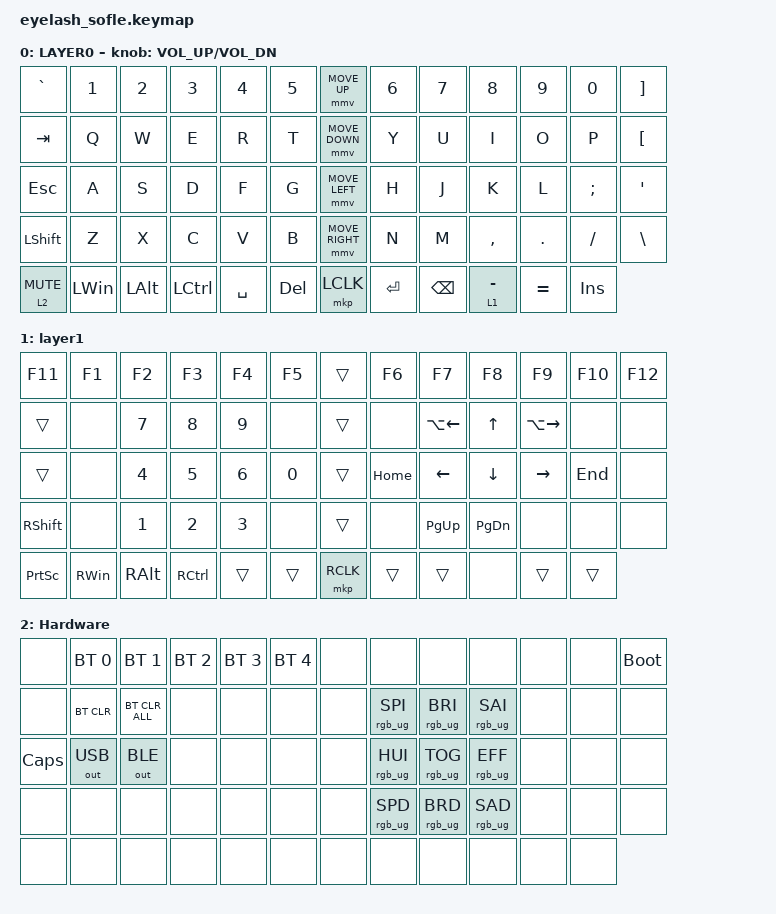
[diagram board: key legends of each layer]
#include <dt-bindings/zmk/mouse.h>
#include <input/processors.dtsi>
#include <behaviors.dtsi>
#include <dt-bindings/zmk/bt.h>
#include <dt-bindings/zmk/keys.h>
#include <dt-bindings/zmk/outputs.h>
#include <dt-bindings/zmk/pointing.h>
#include <dt-bindings/zmk/rgb.h>

/*

   &mmv_input_listener {
       input-processors = <&zip_xy_scaler 2 1>;
   };

   &msc_input_listener {
       input-processors = <&zip_xy_scaler 2 1>;
   };

 */

#define ZMK_MOUSE_DEFAULT_MOVE_VAL 1200  // 600
#define ZMK_MOUSE_DEFAULT_SCRL_VAL 20    // 10

/ {
    behaviors {
        mmv {
            acceleration-exponent = <1>;      // 1
            time-to-max-speed-ms = <900>;    // 40
            delay-ms = <0>;                   // 0
        };

        msc {
            acceleration-exponent = <1>;      // 0
            time-to-max-speed-ms = <400>;      // 500
            delay-ms = <0>;                   //   10
        };
    };

    scroll_encoder: scroll_encoder {
        compatible = "zmk,behavior-sensor-rotate";
        #sensor-binding-cells = <0>;
        bindings = <&msc SCRL_DOWN>, <&msc SCRL_UP>;

        tap-ms = <30>;
    };

    keymap {
        compatible = "zmk,keymap";

        Main {
            bindings = <
&kp GRAVE     &kp N1        &kp N2        &kp N3     &kp N4     &kp N5        &mmv MOVE_UP     &kp N6     &kp N7         &kp N8       &kp N9     &kp N0      &kp RIGHT_BRACKET
&kp TAB       &kp Q         &kp W         &kp E      &kp R      &kp T         &mmv MOVE_DOWN   &kp Y      &kp U          &kp I        &kp O      &kp P       &kp LEFT_BRACKET
&kp ESCAPE    &kp A         &kp S         &kp D      &kp F      &kp G         &mmv MOVE_LEFT   &kp H      &kp J          &kp K        &kp L      &kp SEMI    &kp APOSTROPHE
&kp LSHFT     &kp Z         &kp X         &kp C      &kp V      &kp B         &mmv MOVE_RIGHT  &kp N      &kp M          &kp COMMA    &kp DOT    &kp FSLH    &kp BACKSLASH
&lt 2 C_MUTE  &kp LEFT_WIN  &kp LEFT_ALT  &kp LCTRL  &kp SPACE  &kp DELETE    &mkp LCLK        &kp ENTER  &kp BACKSPACE  &lt 1 MINUS  &kp EQUAL  &kp INSERT
            >;

            sensor-bindings = <&inc_dec_kp C_VOLUME_UP C_VOL_DN>;
            display-name = "LAYER0";
            label = "Main";
        };

        Secondary {
            bindings = <
&kp F11          &kp F1         &kp F2    &kp F3     &kp F4  &kp F5    &trans     &kp F6    &kp F7        &kp F8         &kp F9         &kp F10  &kp F12
&trans           &none          &kp N7    &kp N8     &kp N9  &none     &trans     &none     &kp LA(LEFT)  &kp UP         &kp LA(RIGHT)  &none    &none
&trans           &none          &kp N4    &kp N5     &kp N6  &kp N0    &trans     &kp HOME  &kp LEFT      &kp DOWN       &kp RIGHT      &kp END  &none
&kp RIGHT_SHIFT  &none          &kp N1    &kp N2     &kp N3  &none     &trans     &none     &kp PG_UP     &kp PAGE_DOWN  &none          &none    &none
&kp PRINTSCREEN  &kp RIGHT_WIN  &kp RALT  &kp RCTRL  &trans  &trans    &mkp RCLK  &trans    &trans        &none          &trans         &trans
            >;

            display-name = "layer1";
            label = "Secondary";
        };

        Hardware {
            bindings = <
&none         &bt BT_SEL 0  &bt BT_SEL 1    &bt BT_SEL 2  &bt BT_SEL 3  &bt BT_SEL 4    &none  &none            &none            &none            &none  &none  &bootloader
&none         &bt BT_CLR    &bt BT_CLR_ALL  &none         &none         &none           &none  &rgb_ug RGB_SPI  &rgb_ug RGB_BRI  &rgb_ug RGB_SAI  &none  &none  &none
&kp CAPSLOCK  &out OUT_USB  &out OUT_BLE    &none         &none         &none           &none  &rgb_ug RGB_HUI  &rgb_ug RGB_TOG  &rgb_ug RGB_EFF  &none  &none  &none
&none         &none         &none           &none         &none         &none           &none  &rgb_ug RGB_SPD  &rgb_ug RGB_BRD  &rgb_ug RGB_SAD  &none  &none  &none
&none         &none         &none           &none         &none         &none           &none  &none            &none            &none            &none  &none
            >;

            label = "Hardware";
        };
    };
};
